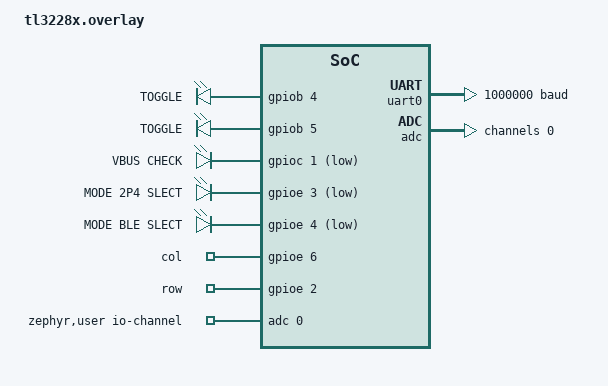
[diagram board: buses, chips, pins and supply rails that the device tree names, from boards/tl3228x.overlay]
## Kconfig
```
# Copyright 2023 Google LLC
# SPDX-License-Identifier: Apache-2.0

mainmenu "Bluetooth: Peripheral kmd"

config SAMPLE_BT_USE_AUTHENTICATION
	bool "Enable passkey authentication"
	default y
	help
	  Enable the passkey authentication callback and register the GATT
	  read and and write attributes as authentication required.

config BT_ID_FOR_KMD
    bool "Only used for KMD project"
    default n
    help
      This option enables the use of a specific Bluetooth identity for the Keyboard
	  Mouse Device (KMD) sample application.

source "Kconfig.zephyr"
```

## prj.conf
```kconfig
# Increased stack due to settings API usage
CONFIG_SYSTEM_WORKQUEUE_STACK_SIZE=2048

CONFIG_BT=y
CONFIG_BT_DEBUG_LOG=y
CONFIG_BT_SMP=y
CONFIG_BT_SMP_ALLOW_UNAUTH_OVERWRITE=y
CONFIG_BT_ID_ALLOW_UNAUTH_OVERWRITE=y
CONFIG_BT_MAX_PAIRED=4
CONFIG_BT_PERIPHERAL=y
CONFIG_BT_DIS=y
CONFIG_BT_BAS=y
CONFIG_BT_DEVICE_NAME="Test kb"
#CONFIG_BT_DEVICE_NAME_DYNAMIC=y
CONFIG_BT_HCI_CORE_LOG_LEVEL_DBG=n

CONFIG_BT_SETTINGS=y
CONFIG_FLASH=y
CONFIG_FLASH_PAGE_LAYOUT=y
CONFIG_FLASH_MAP=y
CONFIG_NVS=y
CONFIG_SETTINGS=y

CONFIG_GPIO=y

CONFIG_PM=y
CONFIG_PM_DEVICE=n
CONFIG_TELINK_TL322X_ENABLE_N22=y
CONFIG_SAMPLE_BT_USE_AUTHENTICATION=n
CONFIG_BT_ID_MAX=4
CONFIG_BT_MAX_CONN=4
CONFIG_BT_SETTINGS=y
CONFIG_BT_ID_UNPAIR_MATCHING_BONDS=y

CONFIG_BT_ID_FOR_KMD=y

#usb config
CONFIG_USB_COMPOSITE_DEVICE=y
CONFIG_USB_DEVICE_STACK=y
CONFIG_USB_DEVICE_HID=y
CONFIG_USB_HID_DEVICE_COUNT=3
CONFIG_USB_DEVICE_PRODUCT="Zephyr HID-keyboard sample"
CONFIG_USB_DEVICE_PID=0x0004
CONFIG_USB_DEVICE_INITIALIZE_AT_BOOT=n
CONFIG_USB_DC_HAS_HS_SUPPORT=n
CONFIG_USB_TELINK_TLX=y
CONFIG_USB_DC_HAS_HS_SUPPORT=y
CONFIG_USB_DEVICE_VID=0x248A
CONFIG_USB_DEVICE_PID=0x3228
CONFIG_ENTROPY_GENERATOR=y
CONFIG_ENTROPY_DEVICE_RANDOM_GENERATOR=y
CONFIG_HID_INTERRUPT_EP_MPS=64

CONFIG_LOG=y
CONFIG_USB_DRIVER_LOG_LEVEL_ERR=y
CONFIG_USB_DEVICE_LOG_LEVEL_ERR=y

CONFIG_FLASH=y
CONFIG_FLASH_PAGE_LAYOUT=y
CONFIG_NVS=y
CONFIG_REBOOT=y

CONFIG_ADC=y
```

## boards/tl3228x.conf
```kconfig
CONFIG_USB_TELINK_TLX=y
```

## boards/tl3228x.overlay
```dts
&cpu0 {
	clock-frequency = <96000000>;		/* USB0 digital voltage must be 1.1V and HCLK min's 48M */
};

&uart0 {
	status = "okay";
	/*alg keyboard*/
	/*pinctrl-0 = <&uart0_tx_pd4_default &uart0_rx_pd5_default>;*/
	/*digital keyboard*/
	pinctrl-0 = <&uart0_tx_pe5_default &uart0_rx_pd7_default>;
	current-speed = <1000000>;			/* Baud rate for serial port logging */
};

&gpioa {
       status = "okay";
};


/ {

	aliases {

		/delete-property/ led0;
		/delete-property/ led1;
		/delete-property/ led2;
		/delete-property/ led3;

		/delete-property/ mcuboot-button0;
		/delete-property/ mcuboot-led0;

		/delete-property/ sw0;
		/delete-property/ sw1;
		/delete-property/ sw2;
		/delete-property/ sw3;

		/delete-property/ pwm-led0;
		/delete-property/ pwm0;

		toggle4 = &toggle_b4_pin;
		toggle5 = &toggle_b5_pin;

		vbuscheck0 = &vbus_pin;
		mode2p4 = &mode_2p4_pin;
		modeble = &mode_ble_pin;

	};

	/delete-node/ leds;
	/delete-node/ pwm_leds;

	leds {
		compatible = "gpio-leds";

		toggle_b4_pin: toggle_io_4 {
			gpios = <&gpiob 4 GPIO_ACTIVE_HIGH>;
			label = "TOGGLE";
		};

		toggle_b5_pin: toggle_io_5 {
			gpios = <&gpiob 5 GPIO_ACTIVE_HIGH>;
			label = "TOGGLE";
		};

		vbus_pin: vbus_io {
			gpios = <&gpioc 1 (GPIO_ACTIVE_LOW)>;
			label = "VBUS CHECK";
		};

		mode_2p4_pin: mode_2p4_io {
			gpios = <&gpioe 3 (GPIO_ACTIVE_LOW)>;
			label = "MODE 2P4 SLECT";
		};
		mode_ble_pin: mode_ble_io {
			gpios = <&gpioe 4 (GPIO_ACTIVE_LOW)>;
			label = "MODE BLE SLECT";
		};
	};

	/delete-node/ keys;
	/delete-node/ key_pool;
	/delete-node/ led_pool;
	/delete-node/ pwm_pool;

	key_matrix {
		compatible = "gpio-keys";

		col {
			gpios = <&gpioe 6 (GPIO_ACTIVE_HIGH | GPIO_PULL_DOWN)>,
					<&gpioe 7 (GPIO_ACTIVE_HIGH | GPIO_PULL_DOWN)>,
					<&gpioa 0 (GPIO_ACTIVE_HIGH | GPIO_PULL_DOWN)>,
					<&gpioa 1 (GPIO_ACTIVE_HIGH | GPIO_PULL_DOWN)>,
					<&gpioa 2 (GPIO_ACTIVE_HIGH | GPIO_PULL_DOWN)>,
					<&gpioc 6 (GPIO_ACTIVE_HIGH | GPIO_PULL_DOWN)>,
					<&gpioc 7 (GPIO_ACTIVE_HIGH | GPIO_PULL_DOWN)>,
					<&gpiog 0 (GPIO_ACTIVE_HIGH | GPIO_PULL_DOWN)>,
					<&gpiof 7 (GPIO_ACTIVE_HIGH | GPIO_PULL_DOWN)>,
					<&gpiof 6 (GPIO_ACTIVE_HIGH | GPIO_PULL_DOWN)>,
					<&gpiof 5 (GPIO_ACTIVE_HIGH | GPIO_PULL_DOWN)>,
					<&gpiof 4 (GPIO_ACTIVE_HIGH | GPIO_PULL_DOWN)>,
					<&gpiob 1 (GPIO_ACTIVE_HIGH | GPIO_PULL_DOWN)>,
					<&gpiob 0 (GPIO_ACTIVE_HIGH | GPIO_PULL_DOWN)>,
					<&gpioc 4 (GPIO_ACTIVE_HIGH | GPIO_PULL_DOWN)>,
					<&gpioc 3 (GPIO_ACTIVE_HIGH | GPIO_PULL_DOWN)>,
					<&gpiod 2 (GPIO_ACTIVE_HIGH | GPIO_PULL_DOWN)>,
					<&gpiog 1 (GPIO_ACTIVE_HIGH | GPIO_PULL_DOWN)>,
					<&gpiog 2 (GPIO_ACTIVE_HIGH | GPIO_PULL_DOWN)>,
					<&gpioh 0 (GPIO_ACTIVE_HIGH | GPIO_PULL_DOWN)>;
		};

		row {
			gpios = <&gpioe 2 GPIO_ACTIVE_HIGH>,
					<&gpioe 1 GPIO_ACTIVE_HIGH>,
					<&gpioe 0 GPIO_ACTIVE_HIGH>,
					<&gpiod 6 GPIO_ACTIVE_HIGH>,
					<&gpiod 4 GPIO_ACTIVE_HIGH>,
					<&gpiod 5 GPIO_ACTIVE_HIGH>;
		};
	};

	zephyr,user {
		/* adjust channel number according to pinmux in board.dts */
		io-channels = <&adc 0>;
	};
};

&adc {
	#address-cells = <1>;
	#size-cells = <0>;

	channel@0 {
		reg = <0>;
		zephyr,gain = "ADC_GAIN_1";
		zephyr,reference = "ADC_REF_INTERNAL";
		zephyr,acquisition-time = <ADC_ACQ_TIME_DEFAULT>;
		zephyr,resolution = <12>;
		zephyr,input-positive = <DT_ADC_GPIO_PC0>;
	};
};

&adc {
	status = "okay";
	vref-internal-mv = <1200>;
	sample-freq = <DT_FREQ_K(96)>;
	pinctrl-0 = <&adc_pc0_default>;
	pinctrl-names = "default";
};

&flash {
	reg = <0x20000000 0x100000>;
	/delete-node/ partitions;

	partitions {
		compatible = "fixed-partitions";
		#address-cells = <1>;
		#size-cells = <1>;

		/*boot_partition: 32k*/
		boot_partition: partition@0 {
			label = "mcuboot";
			reg = <0x00000000 0x8000>;
		};
		/*D25F APP 1 partition: 256k*/
		slot0_partition: partition@8000 {
			label = "image-0";
			reg = <0x8000 0x40000>;
		};
		/*N22 APP 1 partition: 128k*/
		n22_1_partition: partition@48000 {
			label = "image-1";
			reg = <0x48000 0x20000>;
		};
		/*D25F APP 2 partition: 256k*/
		slot1_partition: partition@68000 {
			label = "image-2";
			reg = <0x68000 0x40000>;
		};
		/*N22 APP 2 partition: 128k*/
		n22_2_partition: partition@A8000 {
			label = "image-3";
			reg = <0xA8000 0x20000>;
		};

		user_app_partition: partition@C8000 {
			label = "app-storage";
			reg = <0xC8000 0x00002000>;
		};

		/*BLE SMP storage partition*/
		storage_partition: partition@CA000 {
			label = "storage";
			reg = <0xCA000 0x0000a000>;
		};

		/* region <0xfe000 0x2000> is used for Telink TLx RF parameters */
		/* For 1M MCU - the partition address is 0xfe000 */
		/* For 2M MCU - the partition address is 0x1fe000 */
		/* For 4M MCU - the partition address is 0x3fe000 */
		/* For 16M MCU - the partition address is 0xffe000 */
		vendor_partition: partition@fe000 {
			label = "vendor-data";
			reg = <0xfe000 0x2000>;
		};
	};
};

&pinctrl {
	/* Set pad-mul-sel register value.
	 * Note: Pins functions below (pinmux = <...>) depend on this value.
	 */
	pad-mul-sel = <1>;

	/* UART0: TX(PA0), RX(PA1), RTS(PB4), CTS(PB6) */

	/delete-node/ uart0_tx_pa0_default;
	/delete-node/ uart0_rx_pa1_default;

	uart0_tx_pe5_default: uart0_tx_pe5_default {
		pinmux = <TLX_PINMUX_SET(TLX_PORT_E, TLX_PIN_5,
			(TL322X_FUNC_UART0_TX))>;
	};
	uart0_rx_pd7_default: uart0_rx_pd7_default {
		pinmux = <TLX_PINMUX_SET(TLX_PORT_D, TLX_PIN_7,
			(TL322X_FUNC_UART0_RTX_IO))>;
	};
};

&pwm0 {
	status = "disabled";
};

&gspi {
	status = "disabled";
};

&i2c {
	status = "disabled";
	clock-frequency = <I2C_BITRATE_FAST>;
	pinctrl-0 = <&i2c_scl_pe0_default &i2c_sda_pe1_default>;
	pinctrl-names = "default";
};

&adc {
	status = "okay";
	vref-internal-mv = <1200>;
	sample-freq = <DT_FREQ_K(96)>;
	pinctrl-0 = <&adc_pc0_default>;
	pinctrl-names = "default";
};
```

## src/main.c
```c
/* main.c - Application main entry point */

/*
 * Copyright (c) 2025 Telink Semiconductor
 *
 * SPDX-License-Identifier: Apache-2.0
 */

#include <zephyr/types.h>
#include <stddef.h>
#include <string.h>
#include <errno.h>
#include <zephyr/sys/printk.h>
#include <zephyr/sys/byteorder.h>
#include <zephyr/kernel.h>

#include <zephyr/settings/settings.h>

#include <zephyr/bluetooth/bluetooth.h>
#include <zephyr/bluetooth/hci.h>
#include <zephyr/bluetooth/conn.h>
#include <zephyr/bluetooth/uuid.h>
#include <zephyr/bluetooth/gatt.h>

#include "app_public.h"
#include "driver.h"

#define LOG_LEVEL LOG_LEVEL_DBG
#include <zephyr/logging/log.h>
LOG_MODULE_REGISTER(main);

int main(void)
{
	keyboard_comm_init();

	// gpio_function_en(GPIO_PG4 | GPIO_PG5 | GPIO_PG6 | GPIO_PG7);
	// gpio_output_en(GPIO_PG4 | GPIO_PG5 | GPIO_PG6 | GPIO_PG7);
	// gpio_input_dis(GPIO_PG4 | GPIO_PG5 | GPIO_PG6 | GPIO_PG7);

	while(1) {
		public_loop();
		k_sleep(K_MSEC(3));
	}

	return 0;
}
```

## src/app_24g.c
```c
/** @file
 *  @brief app_24g.c- Application main entry point
 */

/*
 * Copyright (c) 2016 Intel Corporation
 *
 * SPDX-License-Identifier: Apache-2.0
 */

#include <zephyr/types.h>
#include <stddef.h>
#include <string.h>
#include <errno.h>
#include <zephyr/sys/printk.h>
#include <zephyr/sys/byteorder.h>
#include <zephyr/kernel.h>

#include <zephyr/settings/settings.h>

#include "app_24g.h"
#include "app_public.h"

#define LOG_LEVEL LOG_LEVEL_DBG
#include <zephyr/logging/log.h>
LOG_MODULE_REGISTER(app_24g);

#include "stack/multicore_comm/service/mcc.h"
#include "stack/multicore_comm/service/service_d25f.h"

extern pl_fifo_t d25fKbTxFifo;

#define WDT_INTV_MS (300)

#define APP_SLEEP_PREPARE_COUNT         (4)
#define APP_SUSPEND_LIMIT_MIN_TIME_US   (1500)
#define APP_SUSPEND_LONG_TIME_MIN_US    (8000)
#define APP_DELAY_ENTER_SUSPEND_TIME_US (0)
#define APP_WAKEUP_EARLY_TIME_US        (50)
#define APP_WFI_WAKEUP_EARLY_TIME_US    (20)

extern volatile bool n22_rssi_scan_done;

volatile p24g_device_status_e g_state = STATE_POWERON;
static volatile p24g_device_status_e g_work_state = STATE_NONE;
static volatile p24g_device_status_e g_power_state = STATE_NONE;
static volatile uint32_t g_wakeup_stick = 0;
static volatile uint32_t spp_tick = 0;
static uint8_t g_report_rate = REPORT_RATE_8K;

volatile p24g_device_status_e last_connect_status = STATE_NONE;
volatile unsigned int tick_status;
app_ctx_t app_ctx;

/* ZH_TODO */
_attribute_ram_code_sec_ void tlk_d25f_to_n22_mode_info(kb_mode_t mode_flag)
{
	volatile uint32_t key = arch_irq_lock();

	uint8_t cmd[8] = {0};

	cmd[0] = TLK_MB_D25F_TO_N22_MODE;
	cmd[1] = mode_flag;

	mb_send_with_polling(cmd);
	arch_irq_unlock(key);
}

/**
 * @brief share memory message handler table
 */
static p24g_sm_cmd_handler_t p24g_cmd_table[P24G_SM_CMD_MAX] = {0};
uint8_t g_app_suspend_ret_flag = 0;

static inline void app_wdt_init()
{
	if (wd_get_status()) {
		wd_clear_status();
	}
	wd_set_interval_ms(WDT_INTV_MS);
	/**
	 * Wd_clear() must be executed before each call to wd_start() to avoid abnormal watchdog
	 * reset time because the initial count value is not 0. For example, the watchdog is reset
	 * soon or a few minutes later.
	 */
	wd_clear();
	wd_start();
}
static inline void app_timer1_start(uint32_t sys_tick)
{
	unsigned int tick = sys_tick * sys_clk.pclk / SYSTEM_TIMER_TICK_1US;

	timer_set_init_tick(TIMER1, 0);
	timer_set_cap_tick(TIMER1, tick);
	timer_start(TIMER1);
}
static inline void app_timer1_stop(void)
{
	timer_stop(TIMER1);
}
static inline void app_timer1_init(void)
{
	timer_set_init_tick(TIMER1, 0);

	timer_set_mode(TIMER1, TIMER_MODE_SYSCLK);

	timer_set_irq_mask(FLD_TMR1_MODE_IRQ);
	tlkapi_printf(APP_LOG_EN, "timer1 init\r\n");

#if defined(MCU_CORE_TL322X_N22)
	clic_interrupt_enable(IRQ_TIMER1);
#else
	plic_interrupt_enable(IRQ_TIMER1);
#endif
}
_attribute_ram_code_sec_ static void app_2p4g_set_power_state(p24g_device_status_e state,
							      uint32_t tick)
{
	/* if ((state == STATE_TO_IDLE) && (g_power_state != STATE_TO_SLEEP)) {
	 *     g_power_state = STATE_TO_IDLE;
	 *     if (tick) {
	 *         app_timer1_start((tick - stimer_get_tick() - APP_WFI_WAKEUP_EARLY_TIME_US *
	 *         SYSTEM_TIMER_TICK_1US));
	 *     }
	 * } else if (state == STATE_TO_SLEEP) {
	 *     g_wakeup_stick = tick;
	 *     app_inf.step_2t2r = STEP_2T2R_NONE;
	 *     g_power_state = STATE_TO_SLEEP;
	 * }
	 */
}

static inline bool app_2p4g_is_work_busy(void)
{
	return (g_work_state == STATE_BUSY);
}

static inline char *tl_hex_to_str(const void *buf, uint8_t len)
{
	static const char hex[] = "0123456789abcdef";
	static char str[301];
	const uint8_t *b = buf;
	uint8_t i;

	len = min(len, (sizeof(str) - 1) / 3);

	for (i = 0; i < len; i++) {
		str[i * 3] = hex[b[i] >> 4];
		str[i * 3 + 1] = hex[b[i] & 0xf];
		str[i * 3 + 2] = ' ';
	}

	str[i * 3] = '\0';

	return str;
}

static _attribute_ram_code_sec_ uint16_t app_2p4g_d25f_rx_packet_parse(uint8_t *data, uint16_t len)
{
	p24g_evt_t *p_evt = (p24g_evt_t *)data;

	if (p_evt->type == P24G_MB_CMD_USB) {
		return sizeof(p24g_evt_t) + p_evt->len;
	}

	return len;
}

static _attribute_ram_code_sec_ void app_2p4g_packet_enqueue(uint8_t *data, uint16_t len)
{
	/* print_app_public("event receive: %s", tl_hex_to_str(data, len)); */

	p24g_evt_t *p_evt = (p24g_evt_t *)data;

	if (p_evt->type == P24G_MB_CMD_USB) {
		switch (p_evt->opcode) {
		case P24G_USB_OP_EP_WRITE:
			p24g_usb_pkt_t *p_pkt = (p24g_usb_pkt_t *)p_evt->data;

			usb0hw_write_ep_data((p_pkt->ep_addr & (~USB0_DIR_IN_MASK)), p_pkt->data,
					     p_pkt->len);
			/* usbd_ep_write(0, p_pkt->ep_addr, p_pkt->data, p_pkt->len); */
			break;

		case P24G_USB_OP_EP_READ:
			break;
		default:
			break;
		}
	}
}

_attribute_ram_code_sec_ void app_2p4g_d25f_rx_packet_handler(uint8_t *data, unsigned int len)
{
	while (len != 0) {
		uint16_t parsed_len = app_2p4g_d25f_rx_packet_parse(data, len);

		app_2p4g_packet_enqueue(data, parsed_len);
		len -= parsed_len;
		data += parsed_len;
	}
}

_attribute_ram_code_sec_ void event_test(void)
{
	static unsigned int tick;
	static uint8_t TxBuf[64] = {0}; /*[!!important] */
	static uint8_t cnt;

	tick = 0;
	cnt = 0;

	if (clock_time_exceed(tick, 2000000)) {
		tick = stimer_get_tick();

		p24g_evt_t *p_evt = (p24g_evt_t *)TxBuf;

		p_evt->type = P24G_MB_CMD_USB;
		p_evt->opcode = P24G_USB_OP_EP_WRITE;

		p24g_usb_pkt_t *p_pkt = (p24g_usb_pkt_t *)p_evt->data;

		p_pkt->ep_addr = 0x02;
		p_pkt->len = 8;

		p_pkt->data[0] = cnt++;
		p_pkt->data[1] = 0x01;
		p_pkt->data[2] = 0x01;
		p_pkt->data[3] = 0x02;
		p_pkt->data[4] = 0x02;
		p_pkt->data[5] = 0x03;
		p_pkt->data[6] = 0x03;
		p_pkt->data[7] = 0x04;

		p_evt->len = sizeof(p24g_usb_pkt_t) + p_pkt->len;

		if (!mcc_d25f_hci_send_msg(TxBuf, sizeof(p24g_evt_t) + p_evt->len)) {
			/* if (!tlk_n22_sync_send_message(TLK_SHARE_MEMORY_MESSAGE_TYPE_BLE, TxBuf,
			 *       sizeof(p24g_evt_t) + p_evt->len)) {
			 */
			tlkapi_printf(APP_LOG_EN, "d25f send sm message success\n");
		} else {
			tlkapi_printf(APP_LOG_EN, "d25f send sm message fail\n");
		}
	}
}

_attribute_ram_code_sec_ uint8_t p24g_send_sm_msg(uint8_t type, uint8_t op, uint8_t *data,
						  uint8_t len)
{
	static uint8_t TxBuf[64] = {0}; /* [!!important] */

	p24g_evt_t *p_evt = (p24g_evt_t *)TxBuf;

	p_evt->type = type;
	p_evt->opcode = op;
	uint8_t data_len = len > (sizeof(TxBuf) - 2) ? sizeof(TxBuf) - 2 : len;

	if (data && data_len) {
		memcpy(p_evt->data, data, data_len);
		p_evt->len = data_len;
	}
	/* TODO */
	/*  gpio_function_en(GPIO_PB4); */
	/*  gpio_output_en(GPIO_PB4); */
	/*  gpio_input_dis(GPIO_PB4); */
	/*  DBG_GPIO_TOGGLE(APP_IO_EN, GPIO_PB4); */
	/*  delay_us(27); */
	/*  DBG_GPIO_TOGGLE(APP_IO_EN, GPIO_PB4); */

	if (!mcc_d25f_shm_send_msg(TxBuf, sizeof(p24g_evt_t) + p_evt->len, TLK_SHM_MSG_2P4G)) {
		/* if(!tlk_n22_sync_send_message(TLK_SHARE_MEMORY_MESSAGE_TYPE_BLE, TxBuf, */
		/* sizeof(p24g_evt_t) + p_evt->len)) { */
		tlkapi_printf(1, "d25f send sm message success\n");
		/* tlkapi_printk(TLK_LOG_EN, "d25f send sm message success %x %x\n", type, op); */
	} else {
		tlkapi_printf(1, "d25f send sm message fail\n");
		/* tlkapi_printk(TLK_LOG_EN, "d25f send sm message faillll\n"); */
		return 1; /* Error: message sending failed */
	}
	/* DBG_GPIO_TOGGLE(APP_IO_EN, GPIO_PA6); */
	return TLK_SUCCESS; /* Success */
}

_attribute_ram_code_sec_ uint8_t p24g_enable_pairing(bool enable)
{
	return p24g_send_sm_msg(P24G_SM_CMD_PAIRING, enable, 0, 0);
}

_attribute_ram_code_sec_ uint8_t p24g_enable_reconn(bool enable)
{
	return p24g_send_sm_msg(P24G_SM_CMD_SET_STATE, P24G_SM_OP_ENABLE_RECONN, &enable, 1);
}

_attribute_ram_code_sec_ uint8_t p24g_terminate_connect(void)
{
	return p24g_send_sm_msg(P24G_SM_CMD_LL_CONTROL, P24G_SM_OP_TERMINATE_CONN, 0, 0);
}

_attribute_ram_code_sec_ uint8_t p24g_rf_enter_idle(void)
{
	return p24g_send_sm_msg(P24G_SM_CMD_LL_CONTROL, P24G_SM_OP_ENTER_RF_IDLE, 0, 0);
}

_attribute_ram_code_ void app_2p4g_mb_km_data_cb(uint8_t *data)
{

	if (data[0] == 0x7a) {
		data[0] = 0;
		/* app_mouse_report_to_usb(&data[1]); */
	} else if (data[6] == 0xa7 && data[5] == 0x57 && data[4] == 0x5a) {
		/* tlkapi_send_string_data(APP_LOG_EN, "now usb init",data,7); */
		/*  n22_rssi_scan_done = true; */
	} else {
		/* tlkapi_send_string_data(APP_LOG_EN, "d25f kb app_2p4g_mb_km_data_cb",data,7); */
	}
	/* tlkapi_send_string_data(APP_LOG_EN, "d25f kb app_2p4g_mb_km_data_cb",data,7); */
	/*  tlkapi_printk(TLK_LOG_EN, "d25f kb app_2p4g_mb_km_data_cb: %x %x %x %x\n", data[0], */
	/*  data[1], data[2], data[3]); */
}

_attribute_ram_code_sec_ void app_2p4g_d25f_sm_rx_cb(uint8_t *data, uint32_t len)
{

	if (!data || len == 0) {
		return;
	}

	uint8_t cmd = data[0];

	if (cmd < P24G_SM_CMD_MAX && p24g_cmd_table[cmd]) {
		p24g_cmd_table[cmd](data, len);
	} else {
		tlkapi_send_string_data(APP_LOG_EN, "error! unknown sm command", data, len);
	}
}

_attribute_ram_code_sec_ uint8_t p24g_send_spp_data(uint8_t cmd, unsigned char *data,
						    unsigned char len)
{
	uint8_t ret = TLK_ERR_INVALID_LENGTH;

	if (len < 17) {
		ret = pp_fifo_push(&d25fSppTxFifo, cmd, data, len);
	}

	return ret;
}

/**
 * @brief resister a command handler for a specific command type
 */
uint8_t p24g_register_sm_cmd_handler(p24g_sm_cmd_e cmd, p24g_sm_cmd_handler_t handler)
{
	uint8_t ret = TLK_ERR_INVALID_PARAM;

	if (cmd < P24G_SM_CMD_MAX && handler) {
		p24g_cmd_table[cmd] = handler;
		ret = TLK_SUCCESS;
	} else {
		tlkapi_printf(APP_LOG_EN, "%s error %x\n", __func__, cmd);
	}

	return ret;
}

/**
 * @brief       user initialization when MCU wake_up from deepSleep_retention mode
 * @param[in]   none
 * @return      none
 */
_attribute_ram_code_ void p24g_user_init_deepRetn(void)
{
#if (PM_DEEPSLEEP_RETENTION_ENABLE)

	/***
	 * TL321X(buteo):
	 *   PLL_192M_CCLK_96M_HCLK_48M_PCLK_24M_MSPI_48M, the time from retention_reset(.s file) to
	 * here is 550us. PLL_192M_CCLK_32M_HCLK_32M_PCLK_32M_MSPI_48M, the time from
	 * retention_reset(.s file) to here is 578us
	 */
	DBG_CHN0_HIGH;
	irq_enable();

#if (BATT_CHECK_ENABLE)
	adc_hw_initialized = 0;
#endif

#if (TLKAPI_DEBUG_ENABLE)
	tlkapi_debug_deepRetn_init();
#endif
#endif
}

void app_2p4g_dual_core_comm_init(void)
{
	mcc_mb_register_cb(TLK_MB_N22_TO_D25F_KM_DATA, app_2p4g_mb_km_data_cb);
	mcc_shm_register_cb(TLK_SHM_MSG_2P4G, app_2p4g_d25f_sm_rx_cb);

	uint8_t cmd[7] = {0};
	uint32_t address = (u32)&d25fKbTxFifo;

	cmd[3] = (uint8_t)(address & 0xff);
	cmd[4] = (uint8_t)(address >> 8 & 0xff);
	cmd[5] = (uint8_t)(address >> 16 & 0xff);
	cmd[6] = (uint8_t)(address >> 24 & 0xff);

	printk("d25fKbTxFifo %x\n", &d25fKbTxFifo);
	mcc_d25f_mb_send_data(TLK_MB_D25F_TO_N22_2P4G_KB_TX_ADDRESS, cmd);

	address = (u32)&d25fSppTxFifo;
	cmd[3] = (uint8_t)(address & 0xff);
	cmd[4] = (uint8_t)(address >> 8 & 0xff);
	cmd[5] = (uint8_t)(address >> 16 & 0xff);
	cmd[6] = (uint8_t)(address >> 24 & 0xff);

	mcc_d25f_mb_send_data(TLK_MB_D25F_TO_N22_2P4G_SPP_TX_ADDRESS, cmd);

	pp_fifo_reset(&d25fSppTxFifo);
}

_attribute_ram_code_sec_ static void app_2p4g_handle_save_pairing_info(uint8_t *data, uint16_t len)
{
	p24g_evt_t *p_evt = (p24g_evt_t *)data;

	if (p_evt->type == P24G_SM_CMD_SAVE_PAIR_INFO) {
		memcpy(flash_dev_info.peer_addr, p_evt->data, MAC_ADDR_LEN);
		uint32_t side_id = fnv1a_hash(flash_dev_info.peer_addr, MAC_ADDR_LEN);

		if (flash_dev_info.side_id != side_id) {
			flash_dev_info.side_id = side_id;
			/* save_data_to_flash(flash_sector_2p4_inf, sizeof(ST_FLASH_DEV_INFO), */
			/* (unsigned char *)&flash_dev_info.side_id, (int *)&dev_info_idx); */

			int ret = nvs_write(&user_fs, APP_2P4G_PAIR_INFO_ID,
					    (unsigned char *)&flash_dev_info.side_id,
					    sizeof(ST_FLASH_DEV_INFO));
			printk("NVS APP_2P4G_PAIR_INFO_ID Write result: %d\n", ret);
		}
	}
}

_attribute_ram_code_sec_ static void app_2p4g_save_report_rate_info(uint8_t rr)
{
	if ((rr == REPORT_RATE_8K) || (rr == REPORT_RATE_125)) {
		flash_dev_other_info.report_rate = rr;
		uint32_t side_id = fnv1a_hash(flash_dev_other_info.report_rate, 1);

		if (flash_dev_other_info.side_id != side_id) {
			flash_dev_other_info.side_id = side_id;
			tlkapi_send_string_data(APP_LOG_EN, "saving other info",
						&flash_dev_other_info.side_id, 5);

			/* save_data_to_flash(flash_sector_2p4_other_inf, */
			/* sizeof(ST_FLASH_DEV_OTHER_INFO), (unsigned char */
			/* *)&flash_dev_other_info.side_id, (int *)&dev_other_info_idx); */
			int ret = nvs_write(&user_fs, APP_2P4G_APP_INFO_ID,
					    (unsigned char *)&flash_dev_other_info.side_id,
					    sizeof(ST_FLASH_DEV_OTHER_INFO));
			printk("NVS APP_2P4G_APP_INFO_ID Write result: %d\n", ret);
		}
	}
}

_attribute_ram_code_sec_ static void app_2p4g_handle_set_state(uint8_t *data, uint16_t len)
{
	p24g_evt_t *p_evt = (p24g_evt_t *)data;

	if (p_evt->type == P24G_SM_CMD_SET_STATE) {
		if (p_evt->opcode <= STATE_PAIRING_TIMEOUT) {
			app_d24p_set_state(p_evt->opcode);
		}

		if (p_evt->opcode == STATE_CONNECTED) {
			tlkapi_send_string_data(APP_LOG_EN, "connected", data, len);

			spp_tick = stimer_get_tick() | 1;
		} else if (p_evt->opcode == STATE_DISCONNECTED) {
			if (p_evt->data[0] == P24G_LL_CONN_TIMEOUT) {
				p24g_enable_reconn(true);
			}
		} else if (p_evt->opcode == STATE_PAIRING) {

		} else if (p_evt->opcode == STATE_RF_IDLE) {

		} else if (p_evt->opcode == STATE_PAIRING_TIMEOUT) {
			p24g_enable_pairing(true);
		} else if (p_evt->opcode == STATE_IDLE) {
			uint32_t wakeup_stick = 0;

			wakeup_stick = p_evt->data[3];
			wakeup_stick = (wakeup_stick << 8) + p_evt->data[2];
			wakeup_stick = (wakeup_stick << 8) + p_evt->data[1];
			wakeup_stick = (wakeup_stick << 8) + p_evt->data[0];

			app_2p4g_set_power_state(STATE_TO_IDLE, wakeup_stick);
		} else if (p_evt->opcode == STATE_SLEEP) {
			uint32_t wakeup_stick = 0;

			wakeup_stick = p_evt->data[3];
			wakeup_stick = (wakeup_stick << 8) + p_evt->data[2];
			wakeup_stick = (wakeup_stick << 8) + p_evt->data[1];
			wakeup_stick = (wakeup_stick << 8) + p_evt->data[0];

			/* DBG_GPIO_TOGGLE(STACK_IO_EN, GPIO_PD7); */
			app_2p4g_set_power_state(STATE_TO_SLEEP, wakeup_stick);
		}
	}
}

static inline void app_2p4g_clock_reinit(uint8_t report_rate)
{
	g_report_rate = report_rate;
	if (report_rate == REPORT_RATE_8K) {
		app_clock_init(CLOCK_CONFIG_1V1_96_96);
		if (app_get_kb_mode() == KB_MODE_2P4G) {
			app_wdt_init();
		}
	} else {
		app_clock_init(CLOCK_CONFIG_1V_48_24);
		if (app_get_kb_mode() == KB_MODE_2P4G) {
			app_wdt_init();
		}
	}
}

_attribute_ram_code_sec_ void app_2p4g_clock_reover(void)
{
	if (g_report_rate == REPORT_RATE_8K) {
		app_clock_init(CLOCK_CONFIG_1V1_96_96);
		if (app_get_kb_mode() == KB_MODE_2P4G) {
			app_wdt_init();
		}
	} else {
		app_clock_init(CLOCK_CONFIG_1V_48_24);
		if (app_get_kb_mode() == KB_MODE_2P4G) {
			app_wdt_init();
		}
	}
}

_attribute_ram_code_sec_ static void app_2p4g_handle_spp_data(uint8_t *data, uint16_t len)
{
	p24g_evt_t *p_evt = (p24g_evt_t *)data;

	if (p_evt->opcode == P24G_SPP_LED_STATUS) {
		app_pc_kb_led_status(p_evt->data[0]);

	} else if (p_evt->opcode == P24G_SPP_TEST_DATA) {
		tlkapi_send_string_data(APP_LOG_EN, "rx spp data", data, len);
	}
}

_attribute_ram_code_sec_ static void app_2p4g_handle_misc(uint8_t *data, uint16_t len)
{
	p24g_evt_t *p_evt = (p24g_evt_t *)data;

	switch (p_evt->opcode) {
	case P24G_SM_OP_MISC_REPORT_RATE: /* report rate changed */
		tlkapi_send_string_data(APP_LOG_EN, "report rate changed", data, len);
		app_2p4g_clock_reinit(data[3]);
		break;

	case P24G_SM_OP_MISC_SAVE_REPORT_RATE:
		app_2p4g_save_report_rate_info(data[3]);
		/* DBG_GPIO_TOGGLE(APP_IO_EN, GPIO_PH0); */
		tlkapi_send_string_data(APP_LOG_EN, "report rate info saved", data, len);
		app_2p4g_clock_reinit(data[3]);
		break;

	case P24G_SM_OP_MISC_RF_MODE:
		tlkapi_printf(APP_LOG_EN, "rf mode:%x\n", p_evt->data[0]);
		app_ctx.rf_mode = p_evt->data[0];
		break;

	default:
		break;
	}
}

static void app_p24g_sm_cmd_hanlder_init(void)
{
	p24g_register_sm_cmd_handler(P24G_SM_CMD_SAVE_PAIR_INFO, app_2p4g_handle_save_pairing_info);
	p24g_register_sm_cmd_handler(P24G_SM_CMD_SET_STATE, app_2p4g_handle_set_state);
	p24g_register_sm_cmd_handler(P24G_SM_CMD_DATA_TYPE_SPP, app_2p4g_handle_spp_data);
	p24g_register_sm_cmd_handler(P24G_SM_CMD_MISC, app_2p4g_handle_misc);
}

static void app_p24g_send_info_2_n22(void)
{
	p24g_send_sm_msg(P24G_SM_CMD_MISC, P24G_SM_OP_MISC_TRANS_MAC, app_ctx.mac, MAC_ADDR_LEN);

	if (dev_info_idx >= 0) {
		p24g_send_sm_msg(P24G_SM_CMD_MISC, P24G_SM_OP_MISC_PEER_INFO,
				 flash_dev_info.peer_addr, MAC_ADDR_LEN);
		p24g_enable_reconn(true);
	}

#if (HW_BOARD_TYPE == HW_EVK_KEYBOARD || HW_EVK_BOARD == 1)
	else {
		tlkapi_send_string_data(APP_LOG_EN, "enter pairing mode ", 0, 0);
		p24g_enable_pairing(true);
	}
#endif
	if (dev_other_info_idx >= 0) {
		p24g_send_sm_msg(P24G_SM_CMD_MISC, P24G_SM_OP_MISC_REPORT_RATE,
				 &flash_dev_other_info.report_rate, 1);
	}
}

static void app_debug_io_init(void)
{
#if (ALG_KEYSCAN_APP_FUN_ENABLE && APP_IO_EN)
	gpio_function_en(GPIO_PD5 | GPIO_PD6 | GPIO_PD7);
	gpio_output_en(GPIO_PD5 | GPIO_PD6 | GPIO_PD7);
	gpio_input_dis(GPIO_PD5 | GPIO_PD6 | GPIO_PD7);
#endif
}

/**
 * @brief       user initialization when MCU power on or wake_up from deepSleep mode
 * @param[in]   none
 * @return      none
 */
void p24g_user_init_normal(void)
{
	app_wdt_init();

	/* app_debug_io_init(); */

	app_2p4g_dual_core_comm_init();

	app_p24g_sm_cmd_hanlder_init();

	app_p24g_send_info_2_n22(); /* call this fun after sm init */

	p24g_send_sm_msg(P24G_SM_CMD_SET_KB_MODE, P24G_KB_MODE_2P4G, 0, 0);

	app_timer1_init();
	tlkapi_send_string_data(APP_LOG_EN, "d25f kb _p24g_init end", 0, 0);
}

_attribute_ram_code_sec_ void app_p24g_spp_send_handle(void)
{
	unsigned char *p = pp_fifo_get_ptr(&tx_fifo);

	if (p != 0) {
		unsigned char len = p[0];
		unsigned char cmd = p[1];
		unsigned char ret = 0;

		if (cmd == CONSUME_KB_DATA_CMD) {
			ret = p24g_send_spp_data(P24G_SPP_CONSUME_KEY_DATA, &p[2], len);
		} else if (cmd == ALL_KB_DATA_CMD) {
			ret = p24g_send_spp_data(P24G_SPP_ALL_KEY_DATA, &p[2], len);
		}
		if (ret == TLK_SUCCESS) {
			pp_fifo_pop(&tx_fifo);
			tlkapi_send_string_data(APP_LOG_EN, "spp send OK", &ret, 1);
		} else {
			tlkapi_send_string_data(APP_LOG_EN, "spp send failed", &ret, 1);
		}
	}
}

/**
 * @brief       in 2.4g mode  device status check
 * @param[in]    none
 * @return      none
 */

_attribute_ram_code_sec_ void app_pp_check_connect_status(void)
{
	static unsigned int led_tick;

	/* if(last_connect_status!=app_inf.dev_now_status) */
	if (last_connect_status != app_d24p_get_state()) {
		tick_status = clock_time() | 1;
		led_tick = clock_time() | 1;

		/* last_connect_status=app_inf.dev_now_status; */
		last_connect_status = app_d24p_get_state();
		/* print_app_public("d24g_status=%d\r\n", last_connect_status); */

		/* if((app_inf.dev_now_status == STATE_NORMAL)) */
		if ((app_d24p_get_state() == STATE_CONNECTED)) {
			gpio_set_level(PAIR_LED_PIN, LED_IS_ON);
		}
	}

	if (usb_connected_ok) {
		gpio_set_level(PAIR_LED_PIN, LED_IS_OFF);
	}
	/* else  if(app_inf.dev_now_status==STATE_RECONNECT) */
	else if (app_d24p_get_state() == STATE_RECONNECT) {
		if (clock_time_exceed(led_tick, 1000000)) {
			led_tick = clock_time();

			DBG_GPIO_TOGGLE(APP_IO_EN, PAIR_LED_PIN);

			/* tlkapi_printf(APP_LOG_EN, "powron\n"); */
		}
	} else if (app_d24p_get_state() == STATE_PAIRING) {
		if (clock_time_exceed(led_tick, 100000)) {
			led_tick = clock_time();
			DBG_GPIO_TOGGLE(APP_IO_EN, PAIR_LED_PIN);
		}
	}
	if ((app_d24p_get_state() == STATE_CONNECTED)) {
		app_p24g_spp_send_handle();
	}
}

#define SPP_TEST_EN 0
uint8_t spp_buf[16] = {0x0, 0x13, 0x34, 0x45, 0x56, 0x67, 0x78, 0x89};
_attribute_ram_code_sec_ static void app_spp_send_data(void)
{
	DBG_GPIO_TOGGLE(APP_IO_EN, GPIO_PH0);
	spp_tick = stimer_get_tick() | 1;
	int ret = p24g_send_spp_data(P24G_SPP_TEST_DATA, spp_buf, sizeof(spp_buf));

	if (ret != TLK_SUCCESS) {
		tlkapi_send_string_data(APP_LOG_EN, "spp send test data failed", &ret, 1);
	}
	spp_buf[0]++;
}

_attribute_ram_code_sec_ void app_timer1_irq_handler(void)
{
	if (timer_get_irq_status(FLD_TMR1_MODE_IRQ)) {
		app_timer1_stop();
		timer_clr_irq_status(FLD_TMR1_MODE_IRQ); /* clear irq status */
	}
}

_attribute_ram_code_sec_ static void app_2p4g_sleep_check_loop(void)
{
	static uint8_t sleep_prepare_cnt = APP_SLEEP_PREPARE_COUNT;
#if APP_DELAY_ENTER_SUSPEND_TIME_US
	static uint32_t stick;
#endif
	uint8_t short_suspend_flag = 1;

	if (app_2p4g_is_work_busy() || app_is_usb_det_in()) {
		return;
	}

	if ((g_power_state == STATE_TO_SLEEP)) {
#if APP_DELAY_ENTER_SUSPEND_TIME_US
		if (!stick) {
			stick = stimer_get_tick() | 1;
		}
#endif
		if (!sleep_prepare_cnt) {
#if APP_DELAY_ENTER_SUSPEND_TIME_US
			if (stick && tick1_exceed_tick2(stimer_get_tick(),
							stick + APP_DELAY_ENTER_SUSPEND_TIME_US *
									SYSTEM_TIMER_TICK_1US)) {
				stick = 0;
#endif
				g_power_state = STATE_NONE;
				sleep_prepare_cnt = APP_SLEEP_PREPARE_COUNT;

				if (tick1_exceed_tick2(g_wakeup_stick,
						       stimer_get_tick() +
							       APP_SUSPEND_LIMIT_MIN_TIME_US *
								       SYSTEM_TIMER_TICK_1US)) {
					/* gpio_set_level(GPIO_PH2, 0); */
					/* app_proc_before_sleep(); */
					/* DBG_GPIO_TOGGLE(APP_IO_EN,  GPIO_PD7); */
					if (tick1_exceed_tick2(
						    g_wakeup_stick,
						    stimer_get_tick() +
							    APP_SUSPEND_LONG_TIME_MIN_US *
								    SYSTEM_TIMER_TICK_1US)) {
						short_suspend_flag = 0;
						/* gpio_set_level(GPIO_PH2, 1); */
					}
					pm_set_suspend_power_cfg(FLD_PD_ZB_EN, short_suspend_flag);

					g_app_suspend_ret_flag = 1;
					/* DBG_STACK_GPIO_SET_LEVEL(APP_IO_EN, GPIO_PH2, 0); */
					pm_sleep_wakeup(
						SUSPEND_MODE, PM_WAKEUP_TIMER, PM_TICK_STIMER,
						g_wakeup_stick - (APP_WAKEUP_EARLY_TIME_US +
								  (short_suspend_flag ? 0 : 600)) *
									 SYSTEM_TIMER_TICK_1US);
					/* DBG_STACK_GPIO_SET_LEVEL(APP_IO_EN, GPIO_PH2, 1); */

					/* DBG_GPIO_TOGGLE(APP_IO_EN,  GPIO_PD7); */
					/* app_proc_after_sleep(); */
					if (!short_suspend_flag) {
						/* gpio_set_level(GPIO_PH2, 0); */
						pm_set_dig_module_power_switch(FLD_PD_ZB_EN,
									       PM_POWER_UP);
						p24g_send_sm_msg(P24G_SM_CMD_MISC,
								 P24G_SM_OP_MISC_LONG_SUSP_RET, 0,
								 0);
					} else {
						p24g_send_sm_msg(P24G_SM_CMD_MISC,
								 P24G_SM_OP_MISC_SUSP_RET, 0, 0);
					}
					/* gpio_set_level(GPIO_PH2, 1); */
					app_2p4g_set_power_state(STATE_TO_IDLE, 0);
				}
#if APP_DELAY_ENTER_SUSPEND_TIME_US
			}
#endif
		} else {
			sleep_prepare_cnt--;
		}
	} else if (g_power_state == STATE_TO_IDLE) {
		if (!sleep_prepare_cnt) {
			g_power_state = STATE_NONE;
			sleep_prepare_cnt = APP_SLEEP_PREPARE_COUNT;
			/* DBG_STACK_GPIO_SET_LEVEL(APP_IO_EN, GPIO_PH2, 0); */
			/* gpio_set_level(GPIO_PG7, 0); */
			core_entry_wfi_mode();
			/* gpio_set_level(GPIO_PG7, 1); */
			/* DBG_STACK_GPIO_SET_LEVEL(APP_IO_EN, GPIO_PH2, 1); */
			app_2p4g_set_power_state(STATE_TO_IDLE, 0);
		} else {
			sleep_prepare_cnt--;
		}
	}
}

/**
 * @brief     BLE main loop
 * @param[in]  none.
 * @return     none.
 */
_attribute_no_inline_ void app_2p4g_main_loop(void)
{
	/* tlk_multi_core_communication_loop(); */
	mcc_d25f_loop();

#if (TLKAPI_DEBUG_ENABLE)
	tlkapi_debug_handler();
#endif

	app_pp_check_connect_status();
	wd_clear();

#if SPP_TEST_EN
	if (spp_tick && clock_time_exceed(spp_tick, 300000)) {
		app_spp_send_data();
	}
#endif

	app_2p4g_sleep_check_loop();
}
```

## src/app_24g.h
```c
/** @file
 *  @brief app_24g.h
 */

/*
 * Copyright (c) 2016 Intel Corporation
 *
 * SPDX-License-Identifier: Apache-2.0
 */

#ifndef __APP_2P4G_H__
#define __APP_2P4G_H__

#include "app_common_config.h"

typedef void (*p24g_sm_cmd_handler_t)(uint8_t *data, uint16_t len);

// enum {
//     EMPTY_DATA_CMD=0,
//     PAIR_DATA_CMD=1,
//     RECONNECT_DATA_CMD=2,
//     MOUSE_DATA=3,
//     SPP_DATA=4,
//     SPP_DATA_ACK=5,
//     NORMAL_KB_DATA_CMD=6,
//     CONSUME_KB_DATA_CMD=7,
//     SYSTEM_KB_DATA_CMD=8,
//     ALL_KB_DATA_CMD=9,
// };

/* Definition of mailbox 2.4g packet types */
typedef enum {
    P24G_MB_CMD_NONE = 0x00,
    P24G_MB_CMD_USB  = 0x01,
} p24g_mailbox_cmd_e;

typedef enum {
    P24G_USB_OP_EP_WRITE = 0x00,
    P24G_USB_OP_EP_READ  = 0x01,
} p24g_usb_opcode_e;

typedef enum
{
    CLOCK_CONFIG_1V1_192_96  = 0,
    CLOCK_CONFIG_1V1_96_96,
    CLOCK_CONFIG_1V1_48_48,
    CLOCK_CONFIG_1V_72_36,
    CLOCK_CONFIG_1V_64_32,
    CLOCK_CONFIG_1V_48_24,
} app_clock_config_e;

/* Generic event header */
typedef struct p24g_evt
{
    uint8_t type;
    uint8_t opcode;
    uint8_t len;
    uint8_t data[0];
} __attribute__((packed)) p24g_evt_t;

/* USB packet header */
typedef struct p24g_usb_packet_header
{
    uint8_t ep_addr;
    uint8_t len;
    uint8_t data[0];
} __attribute__((packed)) p24g_usb_pkt_t;

extern volatile p24g_device_status_e g_state;


typedef struct {
    uint8_t rf_mode;
    uint8_t mac[MAC_ADDR_LEN];
} app_ctx_t;
extern app_ctx_t app_ctx;

/**
 * @brief   Register a shared memory (SM) command handler for the 2.4GHz protocol
 *
 * This function registers a handler function for a specified SM command in the
 * 2.4GHz protocol stack. When the given command is received through the SM
 * (shared memory) communication channel, the registered handler will be invoked
 * with the associated data buffer.
 *
 * @param[in] cmd       Command identifier of type @ref p24g_sm_cmd_e
 * @param[in] handler   Callback function pointer of type @ref p24g_sm_cmd_handler_t
 *
 * @return   0: success
 *           Other: fail
 *
 * @note     If a handler for the same command is already registered, it will
 *           be overwritten by the new handler.
 */
uint8_t p24g_register_sm_cmd_handler(p24g_sm_cmd_e cmd, p24g_sm_cmd_handler_t handler);


/**
 * @brief     Shared memory (SM) receive callback for 2.4GHz D25F core
 *
 * This callback function is invoked when the shared memory (SM) interface
 * receives data from another MCU core in an dual-core system. It is
 * part of the inter-core communication mechanism used by the 2.4GHz protocol
 * stack running on the d25f core.
 *
 * @param[in] data  Pointer to the received data buffer
 * @param[in] len   Length of the received data in bytes
 *
 * @note      The buffer pointed by @p data is only valid during the callback
 *            execution. If the data needs to be stored for later processing,
 *            it must be copied to a safe memory area before the callback returns.
 *
 * @return    None
 */
void app_2p4g_d25f_sm_rx_cb(uint8_t *data, uint32_t len);


/**
 * @brief     Send a shared memory (SM) message in the 2.4GHz protocol
 *
 * This function sends a message to the 2.4GHz protocol layer through the
 * shared memory (SM) interface. The SM interface is used for inter-core
 * communication in dual-core systems, enabling fast and low-latency data
 * exchange between the application processor d25f and the RF protocol core n22.
 *
 * @param[in] type  Message type identifier
 * @param[in] op    Message operation code
 * @param[in] data  Pointer to the message data buffer
 * @param[in] len   Length of the message data in bytes
 *
 * @return    0 if sending is successful, non-zero error code if failed
 *
 * @note      The buffer pointed by @p data must remain valid until the message
 *            is fully copied or processed by the receiving core.
 *
 */
uint8_t p24g_send_sm_msg(uint8_t type, uint8_t op,  uint8_t *data, uint8_t len);



/**
 * @brief     Send SPP (Serial Port Profile) data through 2.4GHz protocol
 *
 * This function sends SPP-format data via the 2.4GHz protocol layer to
 * the connected peer device. SPP data is typically used for generic data
 * transmission (non-HID) between two devices over the 2.4GHz link.
 *
 * @param[in] cmd   SPP data command identifier
 * @param[in] data  Pointer to the SPP data buffer
 * @param[in] len   Length of the SPP data in bytes
 *
 * @return    0 if sending is successful, non-zero error code if failed
 *
 */
uint8_t p24g_send_spp_data(uint8_t cmd, unsigned char *data, unsigned char len);

/**
 * @brief     Enable or disable pairing mode for the 2.4GHz protocol
 *
 * This function enables or disables the pairing mode in the 2.4GHz protocol stack.
 * When pairing mode is enabled, the device will search for and allow connections
 * from compatible peer devices. When disabled, pairing requests will be ignored.
 *
 * @param[in] enable  true to enable pairing mode, false to disable pairing mode
 *
 * @return    0 if the operation is successful, non-zero error code if failed
 *
 * @note      This API only controls the pairing state in the protocol stack.
 *
 */
uint8_t p24g_enable_pairing(bool enable);


/**
 * @brief     Terminate the current 2.4GHz connection
 *
 * This function is used to actively terminate the existing 2.4GHz wireless
 * connection. It can be called by the application layer when the device
 * needs to disconnect from the host or exit the current session.
 *
 * After a successful disconnection, the device status callback will be invoked
 * with @ref STATE_DISCONNECTED, and the disconnection reason will be reported
 * as @ref P24G_LL_CONN_TERMINATION_BY_LOCAL.
 *
 * @param     None
 *
 * @return    0: success
 *            Other: failure
 *
 * @note      A reconnection procedure may be required if communication
 *            is needed again.
 */
uint8_t p24g_terminate_connect(void);


/**
 * @brief     Put the 2.4GHz RF module into idle state
 *
 * This function actively transitions the 2.4GHz RF module to idle state,
 * stopping ongoing RF communication and freeing RF resources.
 *
 * After a successful operation, the device status callback will be invoked
 * with @ref STATE_RF_IDLE, indicating that the RF module is now in idle state.
 *
 * @param     None
 *
 * @return    0: success
 *            Other: failure
 *
 * @note      Use this function when the application needs to temporarily stop
 *            RF communication or release RF resources. Communication must be
 *            re-enabled or reconnected if needed again.
 */
uint8_t p24g_rf_enter_idle(void);


/**
 * @brief     Enable or disable the 2.4GHz automatic reconnection feature
 *
 * This function enables or disables the automatic reconnection mechanism
 * in the 2.4GHz protocol stack.
 *
 * @param[in] enable    true: enable reconnection
 *                      false: disable reconnection
 *
 * @return    0: success
 *            Other: failure (e.g., invalid parameter or operation not allowed)
 *
 * @note      This function should be called after the device has been paired.
 *
 */
uint8_t p24g_enable_reconn(bool enable);


/**
 * @brief     Initialize 2.4GHz application module
 *
 * This function performs initialization of the 2.4GHz application layer,
 * including RF configuration, state variables setup, and registration
 * of necessary callbacks. It should be called once during system startup
 * before any 2.4GHz communication begins.
 *
 * @param[in]  None
 *
 * @return     None
 *
 * @note       Must be called before entering the 2.4GHz main loop or
 *             handling any RF-related events.
 */
void app_2p4g_init(void);

/**
 * @brief     Timer1 interrupt service routine
 *
 * This function is the interrupt handler for Timer1. It is typically used
 * for time-critical tasks such as RF scheduling, connection supervision,
 * or periodic event triggering related to the 2.4GHz communication stack.
 *
 * @param[in]  None
 *
 * @return     None
 *
 * @note       This function must be registered as the Timer1 ISR and should
 *             execute as quickly as possible to avoid interrupt latency.
 */
void app_timer1_irq_handler(void);

/**
 * @brief     2.4GHz main loop
 *
 * This function runs the main execution loop of the 2.4GHz protocol.
 * It handles packet transmission, reception, and state transitions.
 * The function should be called repeatedly in the system main loop
 * to maintain RF communication and process queued events.
 *
 * @param[in]  None
 *
 * @return     None
 *
 * @note       This function is non-blocking and should be invoked
 *             periodically within the main system loop.
 */
void app_2p4g_main_loop(void);

/**
 * @brief     2.4GHz mailbox callback for keyboard/mouse data
 *
 * This function is invoked when keyboard or mouse data is received
 * through the 2.4GHz mailbox channel. The received data is provided
 * through the input buffer for further processing or forwarding to
 * higher layers.
 *
 * @param[in]  data   Pointer to the received data buffer
 *
 * @return     None
 *
 * @note       This function should be registered as the mailbox callback
 *             for keyboard/mouse data reception in the 2.4GHz stack.
 */
void app_2p4g_mb_km_data_cb(uint8_t* data);

/**
 * @brief     Get the current 2.4GHz device state
 *
 * This function returns the current operating state of the 2.4GHz device,
 * which indicates the RF or connection status such as idle, connected,
 * or disconnected.
 *
 * @return    Current device state of type @ref p24g_device_status_e
 *
 * @note      Typically used to check the current communication or RF state
 *            in higher-level application logic.
 */
static inline p24g_device_status_e app_d24p_get_state(void)
{
    return g_state;
}

/**
 * @brief     Set the current 2.4GHz device state
 *
 * This function updates the internal state variable that represents
 * the 2.4GHz device’s current operating status. It is mainly used by
 * internal modules to synchronize the system state after major events
 * such as connection, disconnection, or idle transitions.
 *
 * @param[in] state   New device state of type @ref p24g_device_status_e
 *
 * @return    None
 *
 * @note      This function is intended for internal use only. Application
 *            modules should trigger state transitions via higher-level APIs.
 */
static inline void app_d24p_set_state(p24g_device_status_e state)
{
    g_state = state;
}

/**
 * @brief     Adjust 2.4GHz clock settings according to stack usage scenario
 *
 * This function switches or reconfigures the 2.4GHz RF clock settings based
 * on the current usage scenario of the 2.4G protocol stack. Depending on the
 * stack state and requirements it may:
 *  - select a high-precision clock source or increase clock frequency for
 *    timing-critical modes (e.g. continuous TX/RX, high-rate transfers);
 *  - select a low-power / gated clock configuration for idle or low-activity
 *    modes to save power;
 *  - apply timing/phase adjustments required after mode transitions (wake-up,
 *    role change, channel change, etc.).
 *
 * The function should be called whenever the stack transitions between modes
 * that have different timing/accuracy or power requirements (for example:
 * entering/exiting active RF operation, switching from idle to heavy TX/RX,
 * after wakeup from deep sleep, or when preparing for connection procedures).
 *
 * @param[in]  None
 *
 * @return     None
 *
 * @note      This routine must ensure clock changes are performed safely:
 *            synchronize with ongoing RF operations, avoid abrupt clock changes
 *            during packet transmission/reception, and reconfigure/handover
 *            hardware PLLs or clock dividers as required by the platform.
 */
void app_2p4g_clock_reover(void);



#ifdef __cplusplus
extern "C" {
#endif


#ifdef __cplusplus
}
#endif

#endif // __APP_2P4G_H__
```

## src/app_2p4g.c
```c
/** @file app_2p4g.c
 *  @brief
 */

/*
 * Copyright (c) 2025 Telink Semiconductor
 *
 * SPDX-License-Identifier: Apache-2.0
 */

#include <zephyr/types.h>
#include <stddef.h>
#include <string.h>
#include <errno.h>
#include <zephyr/sys/printk.h>
#include <zephyr/sys/byteorder.h>
#include <zephyr/kernel.h>

#include <zephyr/settings/settings.h>

#include "app_2p4g.h"
#include "app_public.h"

#define LOG_LEVEL LOG_LEVEL_DBG
#include <zephyr/logging/log.h>
LOG_MODULE_REGISTER(app_2p4g);


#include "stack/multicore_comm/service/mcc.h"
#include "stack/multicore_comm/service/service_d25f.h"


#define WDT_INTV_MS     (300)


/**
 * @brief share memory message handler table
 */
static p24g_sm_cmd_handler_t p24g_cmd_table[P24G_SM_CMD_MAX] = {0};


static inline void app_wdt_init()
{
    if (wd_get_status()) {
        wd_clear_status();
    }
    wd_set_interval_ms(WDT_INTV_MS);
    /**
     * Wd_clear() must be executed before each call to wd_start() to avoid abnormal watchdog reset time because the initial count value is not 0.
     * For example, the watchdog is reset soon or a few minutes later.
     */
    wd_clear();
    wd_start();
}


_attribute_ram_code_sec_ uint8_t p24g_send_sm_msg(uint8_t type, uint8_t op, uint8_t *data, uint8_t len)
{
    static uint8_t TxBuf[64] = {0};

    p24g_evt_t *p_evt = (p24g_evt_t *)TxBuf;

    p_evt->type = type;
    p_evt->opcode = op;
    uint8_t data_len = len > (sizeof(TxBuf) - 2) ? sizeof(TxBuf) - 2 : len;

    if (data && data_len) {
        memcpy(p_evt->data, data, data_len);
        p_evt->len = data_len;
    }

    if (!mcc_d25f_shm_send_msg(TxBuf, sizeof(p24g_evt_t) + p_evt->len, TLK_SHM_MSG_2P4G)) {
        printk("d25f send sm message success\n");
    } else {
        printk("d25f send sm message fail\n");
        return 1;
    }

    return TLK_SUCCESS;
}


_attribute_ram_code_ void app_2p4g_mb_km_data_cb(uint8_t* data)
{
    if (data[0] == 0x7a) {
        data[0] = 0;
    }
}

_attribute_ram_code_sec_ void app_2p4g_d25f_sm_rx_cb(uint8_t *data, uint16_t len)
{

    if (!data || len == 0)
        return;

    uint8_t cmd = data[0];
    if (cmd < P24G_SM_CMD_MAX && p24g_cmd_table[cmd])
    {
        p24g_cmd_table[cmd](data, len);
    }
    else
    {
        printk("error! unknow sm command\n");
    }
}



/**
 * @brief resister a command handler for a specific command type
 */
uint8_t p24g_register_sm_cmd_handler(p24g_sm_cmd_e cmd, p24g_sm_cmd_handler_t handler) 
{
    uint8_t ret = TLK_ERR_INVALID_PARAM;

    if (cmd < P24G_SM_CMD_MAX && handler) {
        p24g_cmd_table[cmd] = handler;
        ret = TLK_SUCCESS;
    }else {
        printk("p24g_register_sm_cmd_handler error %x\n", cmd);
    }

    return ret;
}



void app_2p4g_dual_core_comm_init(void)
{
    mcc_mb_register_cb(TLK_MB_N22_TO_D25F_KM_DATA, (mb_recv_cb_t)app_2p4g_mb_km_data_cb);
    mcc_shm_register_cb(TLK_SHM_MSG_2P4G, app_2p4g_d25f_sm_rx_cb);
}


_attribute_ram_code_sec_ static void app_2p4g_handle_misc(uint8_t *data, uint16_t len)
{
    p24g_evt_t *p_evt = (p24g_evt_t *)data;
    switch (p_evt->opcode) {
        case P24G_SM_OP_MISC_REPORT_RATE:
            printk("report rate changed\n");
            break;

    default:
        break;
    }
}

static void app_p24g_sm_cmd_hanlder_init(void)
{
    p24g_register_sm_cmd_handler(P24G_SM_CMD_MISC,                     app_2p4g_handle_misc);
}




_attribute_ram_code_sec_ void tlk_d25f_to_n22_mode_info(kb_mode_t mode_flag)
{
    volatile uint32_t key = arch_irq_lock();
    
    uint8_t cmd[8] = {0};

    cmd[0] = TLK_MB_D25F_TO_N22_MODE;
    cmd[1] = mode_flag;

    mb_send_with_polling(cmd);
	arch_irq_unlock(key);
}

/**
 * @brief       user initialization when MCU power on or wake_up from deepSleep mode
 * @param[in]   none
 * @return      none
 */
void p24g_user_init_normal(void)
{
    app_wdt_init();

    app_2p4g_dual_core_comm_init();

    app_p24g_sm_cmd_hanlder_init();

    p24g_send_sm_msg(P24G_SM_CMD_SET_KB_MODE, P24G_KB_MODE_2P4G, 0, 0);
 
    printk("d25f kb_p24g_init end\n");
}


/**
 * @brief     BLE main loop
 * @param[in]  none.
 * @return     none.
 */
_attribute_no_inline_ void app_2p4g_main_loop(void)
{
    mcc_d25f_loop();
    // printk("d25f\n");
    wd_clear();
}
```

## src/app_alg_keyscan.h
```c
/** @file
 *  @brief HoG Service sample
 */

/*
 * Copyright (c) 2016 Intel Corporation
 *
 * SPDX-License-Identifier: Apache-2.0
 */

#ifdef __cplusplus
extern "C" {
#endif


unsigned char key_scan(void);

void digit_keyscan_init(void);
void digit_keyscan_handle(void);
#ifdef __cplusplus
}
#endif
```

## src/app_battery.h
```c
/** @file app_battery.h
 *  @brief
 */

/*
 * Copyright (c) 2025 Telink Semiconductor
 *
 * SPDX-License-Identifier: Apache-2.0
 */

#ifdef __cplusplus
extern "C" {
#endif

extern uint32_t lowBattDet_tick;

void app_battery_check_init(void);

void app_battery_check(uint16_t alarm_vol_mv);

#ifdef __cplusplus
}
#endif
```
